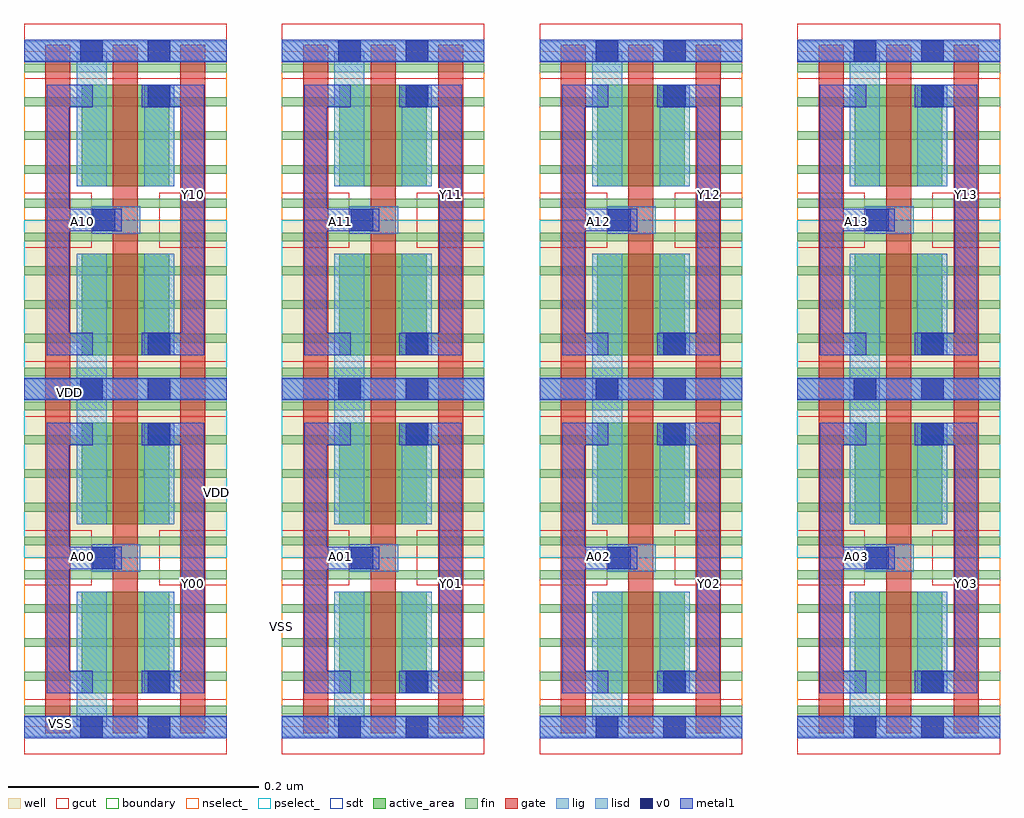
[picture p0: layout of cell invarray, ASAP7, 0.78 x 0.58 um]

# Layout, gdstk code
import gdstk
lib = gdstk.Library(unit=1e-6, precision=2.5e-10)
def R(c, l, rs):  # rectangles x0, y0, x1, y1
    for r in rs: c.add(gdstk.rectangle(r[:2], r[2:], *l))
def A(c, l, x, y, w, h, nx, ny, dx, dy):  # array of equal rectangles
    R(c, l, [(x+i*dx, y+j*dy, x+i*dx+w, y+j*dy+h) for i in range(nx) for j in range(ny)])
def P(c, l, *ps):  # polygons
    for p in ps: c.add(gdstk.Polygon(p, *l))
well = (1, 0)
fin = (2, 0)
gate = (7, 0)
gcut = (10, 0)
active_area = (11, 0)
nselect_ = (12, 0)
pselect_ = (13, 0)
lig = (16, 0)
lisd = (17, 0)
v0 = (18, 0)
metal1 = (19, 0)
sdt = (88, 0)
boundary = (100, 0)

invx1_asap7_75t_r = lib.new_cell('INVx1_ASAP7_75t_R')
R(invx1_asap7_75t_r, well, [(0,0.135,0.162,0.27)])
A(invx1_asap7_75t_r, fin, 0, 0.01, 0.162, 0.007, 1, 10, 0, 0.027)
A(invx1_asap7_75t_r, gate, 0.017, -0.005, 0.02, 0.2805, 3, 1, 0.054, 0)
R(invx1_asap7_75t_r, gcut, [(0,-0.022,0.162,0.022), (0,0.113,0.054,0.157), (0.108,0.113,0.162,0.157), (0,0.248,0.162,0.292)])
R(invx1_asap7_75t_r, active_area, [(0.046,0.027,0.116,0.108), (0.046,0.162,0.116,0.243)])
R(invx1_asap7_75t_r, nselect_, [(0,0,0.162,0.135)])
R(invx1_asap7_75t_r, pselect_, [(0,0.135,0.162,0.27)])
R(invx1_asap7_75t_r, lig, [(0,-0.008,0.162,0.008), (0.054,0.124,0.093,0.146), (0,0.262,0.162,0.278)])
R(invx1_asap7_75t_r, lisd, [(0.042,0,0.066,0.108), (0.096,0.027,0.12,0.108), (0.042,0.162,0.066,0.27), (0.096,0.162,0.12,0.243)])
R(invx1_asap7_75t_r, v0, [(0.045,-0.009,0.063,0.009), (0.099,-0.009,0.117,0.009), (0.099,0.027,0.117,0.045), (0.055,0.126,0.073,0.144), (0.099,0.225,0.117,0.243), (0.045,0.261,0.063,0.279), (0.099,0.261,0.117,0.279)])
R(invx1_asap7_75t_r, metal1, [(0,-0.009,0.162,0.009), (0,0.261,0.162,0.279)])
P(invx1_asap7_75t_r, metal1, [(0.018,0.027),(0.018,0.243),(0.055,0.243),(0.055,0.225),(0.036,0.225),(0.036,0.144),(0.078,0.144),(0.078,0.126),(0.036,0.126),(0.036,0.045),(0.055,0.045),(0.055,0.027)],
  [(0.094,0.027),(0.094,0.045),(0.126,0.045),(0.126,0.225),(0.094,0.225),(0.094,0.243),(0.144,0.243),(0.144,0.027)])
R(invx1_asap7_75t_r, sdt, [(0.042,0.027,0.066,0.108), (0.096,0.027,0.12,0.108), (0.042,0.162,0.066,0.243), (0.096,0.162,0.12,0.243)])
R(invx1_asap7_75t_r, boundary, [(0,0,0.162,0.27)])
invx1_asap7_75t_r.add(gdstk.Label('VSS', (0.029,0.003), layer=19, texttype=251))
invx1_asap7_75t_r.add(gdstk.Label('VDD', (0.036,0.2675), layer=19, texttype=251))
invx1_asap7_75t_r.add(gdstk.Label('A', (0.047,0.1365), layer=19, texttype=251))
invx1_asap7_75t_r.add(gdstk.Label('Y', (0.1355,0.1145), layer=19, texttype=251))
invx1_asap7_75t_r.add(gdstk.Label('VDD', (0.154,0.187), layer=1, texttype=251))
invx1_asap7_75t_r.add(gdstk.Label('VSS', (0.206,0.08), layer=3, texttype=251))

invarray = lib.new_cell('invarray')
invarray.add(gdstk.Reference(invx1_asap7_75t_r, (0,0)))
invarray.add(gdstk.Reference(invx1_asap7_75t_r, (0.206,0)))
invarray.add(gdstk.Reference(invx1_asap7_75t_r, (0.412,0)))
invarray.add(gdstk.Reference(invx1_asap7_75t_r, (0.618,0)))
invarray.add(gdstk.Reference(invx1_asap7_75t_r, (0,0.54), x_reflection=True))
invarray.add(gdstk.Reference(invx1_asap7_75t_r, (0.206,0.54), x_reflection=True))
invarray.add(gdstk.Reference(invx1_asap7_75t_r, (0.412,0.54), x_reflection=True))
invarray.add(gdstk.Reference(invx1_asap7_75t_r, (0.618,0.54), x_reflection=True))
invarray.add(gdstk.Label('VSS', (0.029,0.003), layer=19, texttype=251))
invarray.add(gdstk.Label('VDD', (0.036,0.2675), layer=19, texttype=251))
invarray.add(gdstk.Label('A00', (0.047,0.1365), layer=19, texttype=251))
invarray.add(gdstk.Label('Y00', (0.1355,0.1145), layer=19, texttype=251))
invarray.add(gdstk.Label('A01', (0.253,0.1365), layer=19, texttype=251))
invarray.add(gdstk.Label('Y01', (0.3415,0.1145), layer=19, texttype=251))
invarray.add(gdstk.Label('A02', (0.459,0.1365), layer=19, texttype=251))
invarray.add(gdstk.Label('Y02', (0.5475,0.1145), layer=19, texttype=251))
invarray.add(gdstk.Label('A03', (0.665,0.1365), layer=19, texttype=251))
invarray.add(gdstk.Label('Y03', (0.7535,0.1145), layer=19, texttype=251))
invarray.add(gdstk.Label('A10', (0.047,0.4035), layer=19, texttype=251))
invarray.add(gdstk.Label('Y10', (0.1355,0.4255), layer=19, texttype=251))
invarray.add(gdstk.Label('A11', (0.253,0.4035), layer=19, texttype=251))
invarray.add(gdstk.Label('Y11', (0.3415,0.4255), layer=19, texttype=251))
invarray.add(gdstk.Label('A12', (0.459,0.4035), layer=19, texttype=251))
invarray.add(gdstk.Label('Y12', (0.5475,0.4255), layer=19, texttype=251))
invarray.add(gdstk.Label('A13', (0.665,0.4035), layer=19, texttype=251))
invarray.add(gdstk.Label('Y13', (0.7535,0.4255), layer=19, texttype=251))
invarray.add(gdstk.Label('VDD', (0.154,0.187), layer=1, texttype=251))
invarray.add(gdstk.Label('VSS', (0.206,0.08), layer=3, texttype=251))

lib.write_gds('invarray.gds')
